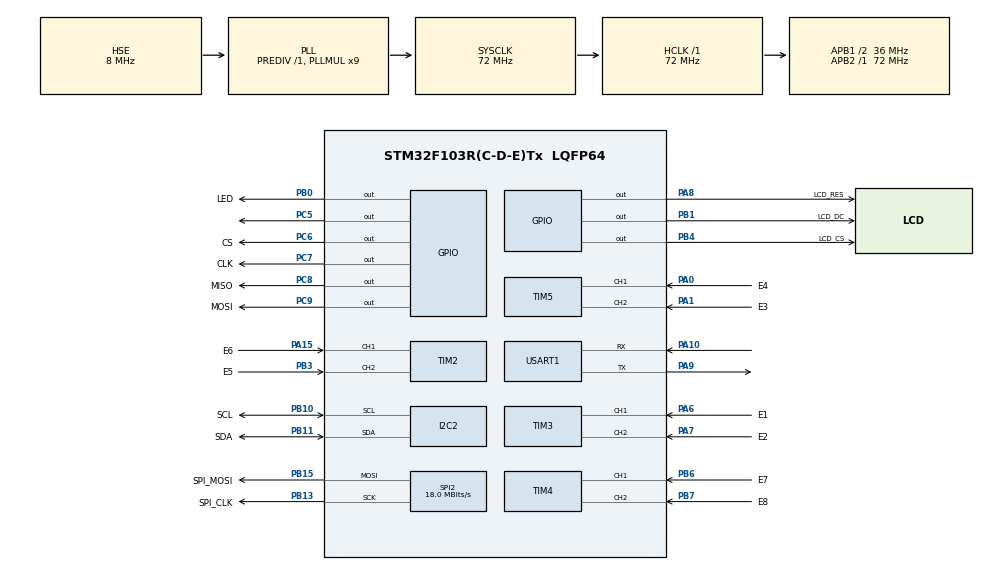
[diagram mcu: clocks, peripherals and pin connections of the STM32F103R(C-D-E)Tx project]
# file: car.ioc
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Mcu.Family=STM32F1
Mcu.Name=STM32F103R(C-D-E)Tx
Mcu.Package=LQFP64
NVIC.PriorityGroup=NVIC_PRIORITYGROUP_4
PA0-WKUP.GPIO_Label=E4
PA0-WKUP.Signal=S_TIM5_CH1
PA1.GPIO_Label=E3
PA1.Signal=S_TIM5_CH2
PA10.Mode=Asynchronous
PA10.Signal=USART1_RX
PA13.Mode=Serial_Wire
PA13.Signal=SYS_JTMS-SWDIO
PA14.Mode=Serial_Wire
PA14.Signal=SYS_JTCK-SWCLK
PA15.GPIO_Label=E6
PA15.Signal=S_TIM2_CH1_ETR
PA6.GPIO_Label=E1
PA6.Signal=S_TIM3_CH1
PA7.GPIO_Label=E2
PA7.Signal=S_TIM3_CH2
PA8.GPIO_Label=LCD_RES
PA8.GPIO_Speed=GPIO_SPEED_FREQ_HIGH
PA8.Signal=GPIO_Output
PA9.Mode=Asynchronous
PA9.Signal=USART1_TX
PB0.GPIO_Label=LED
PB0.GPIO_ModeDefaultOutputPP=GPIO_MODE_OUTPUT_PP
PB0.GPIO_PuPd=GPIO_PULLUP
PB0.PinState=GPIO_PIN_SET
PB0.Signal=GPIO_Output
PB1.GPIO_Label=LCD_DC
PB1.GPIO_Speed=GPIO_SPEED_FREQ_HIGH
PB1.Signal=GPIO_Output
PB10.GPIO_Label=SCL
PB10.Mode=I2C
PB10.Signal=I2C2_SCL
PB11.GPIO_Label=SDA
PB11.Mode=I2C
PB11.Signal=I2C2_SDA
PB13.GPIO_Label=SPI_CLK
PB13.Mode=TX_Only_Simplex_Unidirect_Master
PB13.Signal=SPI2_SCK
PB15.GPIO_Label=SPI_MOSI
PB15.Mode=TX_Only_Simplex_Unidirect_Master
PB15.Signal=SPI2_MOSI
PB3.GPIO_Label=E5
PB3.Signal=S_TIM2_CH2
PB4.GPIO_Label=LCD_CS
PB4.GPIO_Speed=GPIO_SPEED_FREQ_HIGH
PB4.Signal=GPIO_Output
PB6.GPIO_Label=E7
PB6.Signal=S_TIM4_CH1
PB7.GPIO_Label=E8
PB7.Signal=S_TIM4_CH2
PC5.Signal=GPIO_Output
PC6.GPIO_Label=CS
PC6.GPIO_Speed=GPIO_SPEED_FREQ_HIGH
PC6.Signal=GPIO_Output
PC7.GPIO_Label=CLK
PC7.GPIO_Speed=GPIO_SPEED_FREQ_HIGH
PC7.Signal=GPIO_Output
PC8.GPIO_Label=MISO
PC8.GPIO_Speed=GPIO_SPEED_FREQ_HIGH
PC8.Signal=GPIO_Output
PC9.GPIO_Label=MOSI
PC9.GPIO_Speed=GPIO_SPEED_FREQ_HIGH
PC9.Signal=GPIO_Output
PD0-OSC_IN.Mode=HSE-External-Oscillator
PD0-OSC_IN.Signal=RCC_OSC_IN
PD1-OSC_OUT.Mode=HSE-External-Oscillator
PD1-OSC_OUT.Signal=RCC_OSC_OUT
ProjectManager.HeapSize=0x200
ProjectManager.StackSize=0x400
ProjectManager.TargetToolchain=STM32CubeIDE
RCC.AHBFreq_Value=72000000
RCC.APB1CLKDivider=RCC_HCLK_DIV2
RCC.APB1Freq_Value=36000000
RCC.APB1TimFreq_Value=72000000
RCC.APB2Freq_Value=72000000
RCC.APB2TimFreq_Value=72000000
RCC.HCLKFreq_Value=72000000
RCC.PLLMUL=RCC_PLL_MUL9
RCC.PLLSourceVirtual=RCC_PLLSOURCE_HSE
RCC.SYSCLKFreq_VALUE=72000000
RCC.SYSCLKSource=RCC_SYSCLKSOURCE_PLLCLK
RCC.USBFreq_Value=72000000
SH.S_TIM2_CH1_ETR.0=TIM2_CH1,Encoder_Interface
SH.S_TIM2_CH2.0=TIM2_CH2,Encoder_Interface
SH.S_TIM3_CH1.0=TIM3_CH1,Encoder_Interface
SH.S_TIM3_CH2.0=TIM3_CH2,Encoder_Interface
SH.S_TIM4_CH1.0=TIM4_CH1,Encoder_Interface
SH.S_TIM4_CH2.0=TIM4_CH2,Encoder_Interface
SH.S_TIM5_CH1.0=TIM5_CH1,Encoder_Interface
SH.S_TIM5_CH2.0=TIM5_CH2,Encoder_Interface
SPI2.CLKPolarity=SPI_POLARITY_HIGH
SPI2.CalculateBaudRate=18.0 MBits/s
SPI2.Direction=SPI_DIRECTION_2LINES
SPI2.Mode=SPI_MODE_MASTER
SPI2.VirtualType=VM_MASTER
USART1.VirtualMode=VM_ASYNC
board=custom

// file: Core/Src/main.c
/* USER CODE BEGIN Header */
/**
  ******************************************************************************
  * @file           : main.c
  * @brief          : Main program body
  ******************************************************************************
  * @attention
  *
  * Copyright (c) 2024 STMicroelectronics.
  * All rights reserved.
  *
  * This software is licensed under terms that can be found in the LICENSE file
  * in the root directory of this software component.
  * If no LICENSE file comes with this software, it is provided AS-IS.
  *
  ******************************************************************************
  */
/* USER CODE END Header */
#include "main.h"
#include "i2c.h"
#include "spi.h"
#include "tim.h"
#include "usart.h"
#include "gpio.h"

/* USER CODE BEGIN Includes */
#include "mpu6050.h"
#include "inv_mpu.h"
#include "FS_Debug.h"
#include "lcd_init.h"
#include "lcd.h"
#include "pic.h"
#include "vofa.h"
#include "pca.h"
/* USER CODE END Includes */

void SystemClock_Config(void);

/* USER CODE BEGIN 0 */

float temp=0.0f;
float buff[3]={0};

/* USER CODE END 0 */

int main(void)
{

  /* MCU Configuration--------------------------------------------------------*/

  /* Reset of all peripherals, Initializes the Flash interface and the Systick. */
  HAL_Init();

  /* Configure the system clock */
  SystemClock_Config();

  /* Initialize all configured peripherals */
  MX_GPIO_Init();
  MX_I2C2_Init();
  MX_USART1_UART_Init();
  MX_SPI2_Init();
  MX_TIM2_Init();
  MX_TIM3_Init();
  MX_TIM4_Init();
  MX_TIM5_Init();
  /* USER CODE BEGIN 2 */
  mpu6050_dmp_init();
  LCD_Init();
  LCD_Fill(0,0,LCD_W,LCD_H,WHITE);

  uint8_t i,j;
  float t=0;

  /* USER CODE END 2 */

  /* Infinite loop */
  while (1)
  {

    /* USER CODE BEGIN 3 */
    /*MPU6050ReadAcc(accData);
    MPU6050ReadGyro(gyroData);
    MPU6050_ReturnTemp(&temp);
    HAL_Delay(200);*/
    //mpu6050_dmp_get_data(&buff[0],&buff[1],&buff[2]);
    //while(mpu6050_dmp_get_data(&buff[0],&buff[1],&buff[2])!=0){}
    // while(mpu6050_dmp_get_data(&pitch,&roll,&yaw)!=0){}

    LCD_ShowChinese(0,0,"中景园电�?",RED,WHITE,32,0);
		LCD_ShowString(0,40,"LCD_W:",RED,WHITE,16,0);
		LCD_ShowIntNum(48,40,LCD_W,3,RED,WHITE,16);
		LCD_ShowString(80,40,"LCD_H:",RED,WHITE,16,0);
		LCD_ShowIntNum(128,40,LCD_H,3,RED,WHITE,16);
		LCD_ShowString(80,40,"LCD_H:",RED,WHITE,16,0);
		LCD_ShowString(0,70,"Increaseing Nun:",RED,WHITE,16,0);
		LCD_ShowFloatNum1(128,70,t,4,RED,WHITE,16);
		t+=0.11;
		for(j=0;j<3;j++)
		{
			for(i=0;i<6;i++)
			{
				LCD_ShowPicture(40*i,120+j*40,40,40,gImage_1);
			}
		}

    mpu6050_filter_angle();
    Vofa_print("%.2f,%.2f,%.2f\r\n",pitch,roll,yaw);
   // print(&huart1,"%.2f %.2f %.2f\r\n",pitch,roll,yaw);

  }
  /* USER CODE END 3 */
}

void SystemClock_Config(void)
{
  RCC_OscInitTypeDef RCC_OscInitStruct = {0};
  RCC_ClkInitTypeDef RCC_ClkInitStruct = {0};

  /** Initializes the RCC Oscillators according to the specified parameters
  * in the RCC_OscInitTypeDef structure.
  */
  RCC_OscInitStruct.OscillatorType = RCC_OSCILLATORTYPE_HSE;
  RCC_OscInitStruct.HSEState = RCC_HSE_ON;
  RCC_OscInitStruct.HSEPredivValue = RCC_HSE_PREDIV_DIV1;
  RCC_OscInitStruct.HSIState = RCC_HSI_ON;
  RCC_OscInitStruct.PLL.PLLState = RCC_PLL_ON;
  RCC_OscInitStruct.PLL.PLLSource = RCC_PLLSOURCE_HSE;
  RCC_OscInitStruct.PLL.PLLMUL = RCC_PLL_MUL9;
  if (HAL_RCC_OscConfig(&RCC_OscInitStruct) != HAL_OK)
  {
    Error_Handler();
  }

  /** Initializes the CPU, AHB and APB buses clocks
  */
  RCC_ClkInitStruct.ClockType = RCC_CLOCKTYPE_HCLK|RCC_CLOCKTYPE_SYSCLK
                              |RCC_CLOCKTYPE_PCLK1|RCC_CLOCKTYPE_PCLK2;
  RCC_ClkInitStruct.SYSCLKSource = RCC_SYSCLKSOURCE_PLLCLK;
  RCC_ClkInitStruct.AHBCLKDivider = RCC_SYSCLK_DIV1;
  RCC_ClkInitStruct.APB1CLKDivider = RCC_HCLK_DIV2;
  RCC_ClkInitStruct.APB2CLKDivider = RCC_HCLK_DIV1;

  if (HAL_RCC_ClockConfig(&RCC_ClkInitStruct, FLASH_LATENCY_2) != HAL_OK)
  {
    Error_Handler();
  }
}

void Error_Handler(void)
{
  __disable_irq();
  while (1)
  {
  }
}
